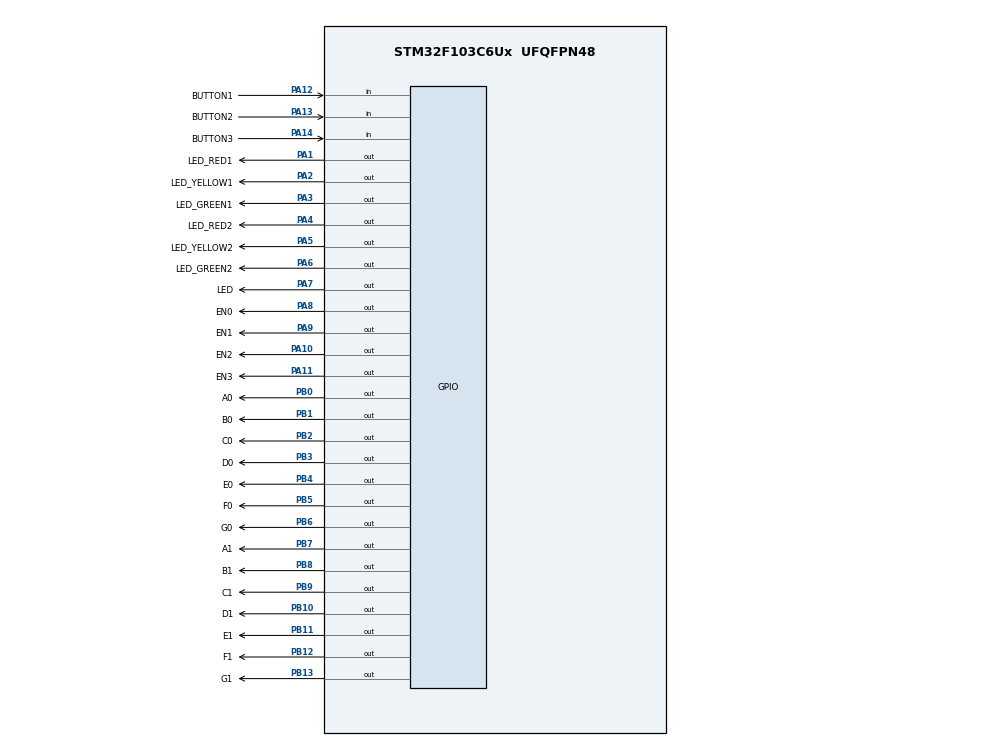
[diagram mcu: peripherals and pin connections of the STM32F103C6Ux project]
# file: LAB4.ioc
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Mcu.Family=STM32F1
Mcu.Name=STM32F103C6Ux
Mcu.Package=UFQFPN48
NVIC.PriorityGroup=NVIC_PRIORITYGROUP_4
NVIC.TIM2_IRQn=true\:0\:0\:false\:false\:true\:true\:true
PA1.GPIO_Label=LED_RED1
PA1.Signal=GPIO_Output
PA10.GPIO_Label=EN2
PA10.Signal=GPIO_Output
PA11.GPIO_Label=EN3
PA11.Signal=GPIO_Output
PA12.GPIO_Label=BUTTON1
PA12.GPIO_PuPd=GPIO_PULLUP
PA12.Signal=GPIO_Input
PA13.GPIO_Label=BUTTON2
PA13.GPIO_PuPd=GPIO_PULLUP
PA13.Signal=GPIO_Input
PA14.GPIO_Label=BUTTON3
PA14.GPIO_PuPd=GPIO_PULLUP
PA14.Signal=GPIO_Input
PA2.GPIO_Label=LED_YELLOW1
PA2.Signal=GPIO_Output
PA3.GPIO_Label=LED_GREEN1
PA3.Signal=GPIO_Output
PA4.GPIO_Label=LED_RED2
PA4.Signal=GPIO_Output
PA5.GPIO_Label=LED_YELLOW2
PA5.Signal=GPIO_Output
PA6.GPIO_Label=LED_GREEN2
PA6.Signal=GPIO_Output
PA7.GPIO_Label=LED
PA7.Signal=GPIO_Output
PA8.GPIO_Label=EN0
PA8.Signal=GPIO_Output
PA9.GPIO_Label=EN1
PA9.Signal=GPIO_Output
PB0.GPIO_Label=A0
PB0.Signal=GPIO_Output
PB1.GPIO_Label=B0
PB1.Signal=GPIO_Output
PB10.GPIO_Label=D1
PB10.Signal=GPIO_Output
PB11.GPIO_Label=E1
PB11.Signal=GPIO_Output
PB12.GPIO_Label=F1
PB12.Signal=GPIO_Output
PB13.GPIO_Label=G1
PB13.Signal=GPIO_Output
PB2.GPIO_Label=C0
PB2.Signal=GPIO_Output
PB3.GPIO_Label=D0
PB3.Signal=GPIO_Output
PB4.GPIO_Label=E0
PB4.Signal=GPIO_Output
PB5.GPIO_Label=F0
PB5.Signal=GPIO_Output
PB6.GPIO_Label=G0
PB6.Signal=GPIO_Output
PB7.GPIO_Label=A1
PB7.Signal=GPIO_Output
PB8.GPIO_Label=B1
PB8.Signal=GPIO_Output
PB9.GPIO_Label=C1
PB9.Signal=GPIO_Output
ProjectManager.HeapSize=0x200
ProjectManager.StackSize=0x400
ProjectManager.TargetToolchain=STM32CubeIDE
RCC.APB1Freq_Value=8000000
RCC.APB2Freq_Value=8000000
TIM2.Period=9
TIM2.Prescaler=7999
VP_SYS_VS_ND.Mode=No_Debug
VP_TIM2_VS_ClockSourceINT.Mode=Internal
board=custom

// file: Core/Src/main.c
/* USER CODE BEGIN Header */
/**
  ******************************************************************************
  * @file           : main.c
  * @brief          : Main program body
  ******************************************************************************
  * @attention
  *
  * <h2><center>&copy; Copyright (c) 2024 STMicroelectronics.
  * All rights reserved.</center></h2>
  *
  * This software component is licensed by ST under BSD 3-Clause license,
  * the "License"; You may not use this file except in compliance with the
  * License. You may obtain a copy of the License at:
  *                        opensource.org/licenses/BSD-3-Clause
  *
  ******************************************************************************
  */
/* USER CODE END Header */
#include "main.h"

/* USER CODE BEGIN Includes */
#include "global.h"
#include "fsm_automatic.h"
#include "fsm_manual.h"
#include "scheduler.h"
/* USER CODE END Includes */

TIM_HandleTypeDef htim2;

void SystemClock_Config(void);
static void MX_TIM2_Init(void);
static void MX_GPIO_Init(void);

int main(void)
{

  /* MCU Configuration--------------------------------------------------------*/

  /* Reset of all peripherals, Initializes the Flash interface and the Systick. */
  HAL_Init();

  /* Configure the system clock */
  SystemClock_Config();

  /* Initialize all configured peripherals */
  MX_TIM2_Init();
  MX_GPIO_Init();
  /* USER CODE BEGIN 2 */
  HAL_TIM_Base_Start_IT (& htim2 ) ;

  initWaitingTime();
  initVar();

  SCH_Init();
  SCH_Add_Task(timerRun, 10, 10);
  SCH_Add_Task(fsm_automatic, 100, 100);
  SCH_Add_Task(getKeyInput, 20, 10);
  SCH_Add_Task(fsm_manual, 200, 100);
  /* USER CODE END 2 */

  /* Infinite loop */
  /* USER CODE BEGIN WHILE */
  while (1)
  {
	  SCH_Dispatch_Tasks();
    /* USER CODE END WHILE */

  }
}

void SystemClock_Config(void)
{
  RCC_OscInitTypeDef RCC_OscInitStruct = {0};
  RCC_ClkInitTypeDef RCC_ClkInitStruct = {0};

  /** Initializes the RCC Oscillators according to the specified parameters
  * in the RCC_OscInitTypeDef structure.
  */
  RCC_OscInitStruct.OscillatorType = RCC_OSCILLATORTYPE_HSI;
  RCC_OscInitStruct.HSIState = RCC_HSI_ON;
  RCC_OscInitStruct.HSICalibrationValue = RCC_HSICALIBRATION_DEFAULT;
  RCC_OscInitStruct.PLL.PLLState = RCC_PLL_NONE;
  if (HAL_RCC_OscConfig(&RCC_OscInitStruct) != HAL_OK)
  {
    Error_Handler();
  }
  /** Initializes the CPU, AHB and APB buses clocks
  */
  RCC_ClkInitStruct.ClockType = RCC_CLOCKTYPE_HCLK|RCC_CLOCKTYPE_SYSCLK
                              |RCC_CLOCKTYPE_PCLK1|RCC_CLOCKTYPE_PCLK2;
  RCC_ClkInitStruct.SYSCLKSource = RCC_SYSCLKSOURCE_HSI;
  RCC_ClkInitStruct.AHBCLKDivider = RCC_SYSCLK_DIV1;
  RCC_ClkInitStruct.APB1CLKDivider = RCC_HCLK_DIV1;
  RCC_ClkInitStruct.APB2CLKDivider = RCC_HCLK_DIV1;

  if (HAL_RCC_ClockConfig(&RCC_ClkInitStruct, FLASH_LATENCY_0) != HAL_OK)
  {
    Error_Handler();
  }
}

static void MX_TIM2_Init(void)
{

  TIM_ClockConfigTypeDef sClockSourceConfig = {0};
  TIM_MasterConfigTypeDef sMasterConfig = {0};

  htim2.Instance = TIM2;
  htim2.Init.Prescaler = 7999;
  htim2.Init.CounterMode = TIM_COUNTERMODE_UP;
  htim2.Init.Period = 9;
  htim2.Init.ClockDivision = TIM_CLOCKDIVISION_DIV1;
  htim2.Init.AutoReloadPreload = TIM_AUTORELOAD_PRELOAD_DISABLE;
  if (HAL_TIM_Base_Init(&htim2) != HAL_OK)
  {
    Error_Handler();
  }
  sClockSourceConfig.ClockSource = TIM_CLOCKSOURCE_INTERNAL;
  if (HAL_TIM_ConfigClockSource(&htim2, &sClockSourceConfig) != HAL_OK)
  {
    Error_Handler();
  }
  sMasterConfig.MasterOutputTrigger = TIM_TRGO_RESET;
  sMasterConfig.MasterSlaveMode = TIM_MASTERSLAVEMODE_DISABLE;
  if (HAL_TIMEx_MasterConfigSynchronization(&htim2, &sMasterConfig) != HAL_OK)
  {
    Error_Handler();
  }

}

static void MX_GPIO_Init(void)
{
  GPIO_InitTypeDef GPIO_InitStruct = {0};

  /* GPIO Ports Clock Enable */
  __HAL_RCC_GPIOA_CLK_ENABLE();
  __HAL_RCC_GPIOB_CLK_ENABLE();

  /*Configure GPIO pin Output Level */
  HAL_GPIO_WritePin(GPIOA, LED_RED1_Pin|LED_YELLOW1_Pin|LED_GREEN1_Pin|LED_RED2_Pin
                          |LED_YELLOW2_Pin|LED_GREEN2_Pin|LED_Pin|EN0_Pin
                          |EN1_Pin|EN2_Pin|EN3_Pin, GPIO_PIN_RESET);

  /*Configure GPIO pin Output Level */
  HAL_GPIO_WritePin(GPIOB, A0_Pin|B0_Pin|C0_Pin|D1_Pin
                          |E1_Pin|F1_Pin|G1_Pin|D0_Pin
                          |E0_Pin|F0_Pin|G0_Pin|A1_Pin
                          |B1_Pin|C1_Pin, GPIO_PIN_RESET);

  /*Configure GPIO pins : LED_RED1_Pin LED_YELLOW1_Pin LED_GREEN1_Pin LED_RED2_Pin
                           LED_YELLOW2_Pin LED_GREEN2_Pin LED_Pin EN0_Pin
                           EN1_Pin EN2_Pin EN3_Pin */
  GPIO_InitStruct.Pin = LED_RED1_Pin|LED_YELLOW1_Pin|LED_GREEN1_Pin|LED_RED2_Pin
                          |LED_YELLOW2_Pin|LED_GREEN2_Pin|LED_Pin|EN0_Pin
                          |EN1_Pin|EN2_Pin|EN3_Pin;
  GPIO_InitStruct.Mode = GPIO_MODE_OUTPUT_PP;
  GPIO_InitStruct.Pull = GPIO_NOPULL;
  GPIO_InitStruct.Speed = GPIO_SPEED_FREQ_LOW;
  HAL_GPIO_Init(GPIOA, &GPIO_InitStruct);

  /*Configure GPIO pins : A0_Pin B0_Pin C0_Pin D1_Pin
                           E1_Pin F1_Pin G1_Pin D0_Pin
                           E0_Pin F0_Pin G0_Pin A1_Pin
                           B1_Pin C1_Pin */
  GPIO_InitStruct.Pin = A0_Pin|B0_Pin|C0_Pin|D1_Pin
                          |E1_Pin|F1_Pin|G1_Pin|D0_Pin
                          |E0_Pin|F0_Pin|G0_Pin|A1_Pin
                          |B1_Pin|C1_Pin;
  GPIO_InitStruct.Mode = GPIO_MODE_OUTPUT_PP;
  GPIO_InitStruct.Pull = GPIO_NOPULL;
  GPIO_InitStruct.Speed = GPIO_SPEED_FREQ_LOW;
  HAL_GPIO_Init(GPIOB, &GPIO_InitStruct);

  /*Configure GPIO pins : BUTTON1_Pin BUTTON2_Pin BUTTON3_Pin */
  GPIO_InitStruct.Pin = BUTTON1_Pin|BUTTON2_Pin|BUTTON3_Pin;
  GPIO_InitStruct.Mode = GPIO_MODE_INPUT;
  GPIO_InitStruct.Pull = GPIO_PULLUP;
  HAL_GPIO_Init(GPIOA, &GPIO_InitStruct);

}

/* USER CODE BEGIN 4 */
void HAL_TIM_PeriodElapsedCallback ( TIM_HandleTypeDef * htim )
{
	SCH_Update();
}
/* USER CODE END 4 */

void Error_Handler(void)
{
  __disable_irq();
  while (1)
  {
  }
}

/************************ (C) COPYRIGHT STMicroelectronics *****END OF FILE****/
